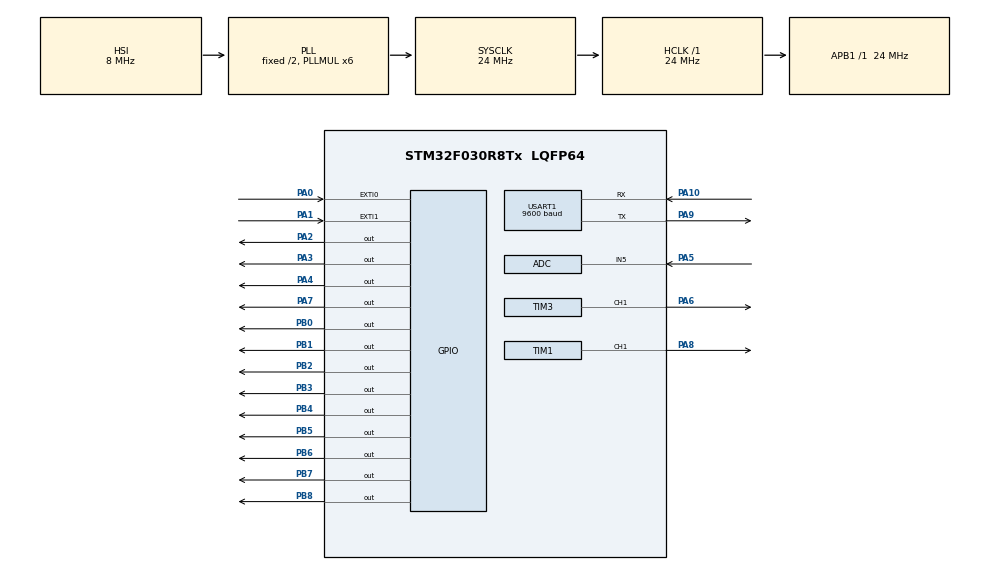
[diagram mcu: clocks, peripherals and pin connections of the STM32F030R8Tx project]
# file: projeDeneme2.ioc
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ADC.Resolution=ADC_RESOLUTION_6B
Mcu.Family=STM32F0
Mcu.Name=STM32F030R8Tx
Mcu.Package=LQFP64
NVIC.ADC1_IRQn=true\:0\:0\:false\:false\:true\:true\:true
NVIC.EXTI0_1_IRQn=true\:0\:0\:false\:false\:true\:true\:true
NVIC.TIM1_BRK_UP_TRG_COM_IRQn=true\:0\:0\:false\:false\:true\:true\:true
NVIC.TIM3_IRQn=true\:0\:0\:false\:false\:true\:true\:true
NVIC.USART1_IRQn=true\:0\:0\:false\:false\:true\:true\:true
PA0.GPIO_ModeDefaultEXTI=GPIO_MODE_IT_RISING
PA0.Signal=GPXTI0
PA1.GPIO_ModeDefaultEXTI=GPIO_MODE_IT_RISING
PA1.Signal=GPXTI1
PA10.Mode=Asynchronous
PA10.Signal=USART1_RX
PA2.Signal=GPIO_Output
PA3.Signal=GPIO_Output
PA4.Signal=GPIO_Output
PA5.Mode=IN5
PA5.Signal=ADC_IN5
PA6.Signal=S_TIM3_CH1
PA7.Signal=GPIO_Output
PA8.Signal=S_TIM1_CH1
PA9.Mode=Asynchronous
PA9.Signal=USART1_TX
PB0.Signal=GPIO_Output
PB1.Signal=GPIO_Output
PB2.Signal=GPIO_Output
PB3.Signal=GPIO_Output
PB4.Signal=GPIO_Output
PB5.Signal=GPIO_Output
PB6.Signal=GPIO_Output
PB7.Signal=GPIO_Output
PB8.Signal=GPIO_Output
ProjectManager.HeapSize=0x200
ProjectManager.StackSize=0x400
ProjectManager.TargetToolchain=MDK-ARM V5
RCC.AHBFreq_Value=24000000
RCC.APB1Freq_Value=24000000
RCC.APB1TimFreq_Value=24000000
RCC.HCLKFreq_Value=24000000
RCC.PLLMUL=RCC_PLL_MUL6
RCC.SYSCLKFreq_VALUE=24000000
RCC.SYSCLKSource=RCC_SYSCLKSOURCE_PLLCLK
SH.S_TIM1_CH1.0=TIM1_CH1,PWM Generation1 CH1
SH.S_TIM3_CH1.0=TIM3_CH1,PWM Generation1 CH1
TIM1.Channel-PWM\ Generation1\ CH1=TIM_CHANNEL_1
TIM1.Period=4999
TIM1.Prescaler=23999
TIM1.Pulse-PWM\ Generation1\ CH1=500
TIM3.Channel-PWM\ Generation1\ CH1=TIM_CHANNEL_1
TIM3.Period=999
TIM3.Prescaler=11999
TIM3.Pulse-PWM\ Generation1\ CH1=500
USART1.BaudRate=9600
USART1.VirtualMode-Asynchronous=VM_ASYNC
board=custom

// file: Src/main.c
/* USER CODE BEGIN Header */
/**
  ******************************************************************************
  * @file           : main.c
  * @brief          : Main program body
  ******************************************************************************
  * @attention
  *
  * <h2><center>&copy; Copyright (c) 2020 STMicroelectronics.
  * All rights reserved.</center></h2>
  *
  * This software component is licensed by ST under BSD 3-Clause license,
  * the "License"; You may not use this file except in compliance with the
  * License. You may obtain a copy of the License at:
  *                        opensource.org/licenses/BSD-3-Clause
  *
  ******************************************************************************
  */
/* USER CODE END Header */

#include "main.h"
#include <stdio.h>

ADC_HandleTypeDef hadc;

TIM_HandleTypeDef htim1;
TIM_HandleTypeDef htim3;

UART_HandleTypeDef huart1;

/* USER CODE BEGIN PV */

int sistemCalisiyor = 0;
int tekSeferCalistir = 0;
int adc;
int grup1 = 0;
int grup2= 0;
int toplam = 0;
int toplamUart = 0;
int toplamSayaci = 0;
int onSaniyeSayaci = 0;
int butonaBasildi = 0;
int urunAsimiUyarisi = 0;

uint8_t limitAsimi[] = "<Limit asimi!>\r\n";
uint8_t urunYok[] = "<Urun yok...>\r\n";

/* USER CODE END PV */

void SystemClock_Config(void);
static void MX_GPIO_Init(void);
static void MX_ADC_Init(void);
static void MX_TIM3_Init(void);
static void MX_TIM1_Init(void);
static void MX_USART1_UART_Init(void);
/* USER CODE BEGIN PFP */

int getSize(char* metin){

		int mesajin_length = 0;
    while(metin[mesajin_length] != '\0'){

        mesajin_length++;

		}

    return mesajin_length;
}

void porta_yaz(int a){

		switch(a){

			case 0:
				GPIOB -> ODR = 0x003F;
				break;
			case 1:
				GPIOB -> ODR = 0x0006;
				break;
			case 2:
				GPIOB -> ODR = 0x005B;
				break;
			case 3:
				GPIOB -> ODR = 0x004F;
				break;
			case 4:
				GPIOB -> ODR = 0x0066;
				break;
			case 5:
				GPIOB -> ODR = 0x006D;
				break;
			case 6:
				GPIOB -> ODR = 0x007D;
				break;
			case 7:
				GPIOB -> ODR = 0x0007;
				break;
			case 8:
				GPIOB -> ODR = 0x007F;
				break;
			case 9:
				GPIOB -> ODR = 0x006F;
				break;

		}

	}

void port_yaz2D(int a){

	if(a <= 9){

		porta_yaz(a);
		HAL_GPIO_WritePin(GPIOB, GPIO_PIN_7, GPIO_PIN_RESET);
		HAL_GPIO_WritePin(GPIOB, GPIO_PIN_8, GPIO_PIN_SET);
		HAL_Delay(10);
		HAL_GPIO_WritePin(GPIOB, GPIO_PIN_8, GPIO_PIN_RESET);

	}else{

		porta_yaz(a % 10);
		HAL_GPIO_WritePin(GPIOB, GPIO_PIN_7, GPIO_PIN_RESET);
		HAL_GPIO_WritePin(GPIOB, GPIO_PIN_8, GPIO_PIN_SET);
		HAL_Delay(10);

		porta_yaz(a / 10);
		HAL_GPIO_WritePin(GPIOB, GPIO_PIN_7, GPIO_PIN_SET);
		HAL_GPIO_WritePin(GPIOB, GPIO_PIN_8, GPIO_PIN_RESET);
		HAL_Delay(10);

		HAL_GPIO_WritePin(GPIOB, GPIO_PIN_7, GPIO_PIN_RESET);

	}

}

/* USER CODE END PFP */

int main(void)
{

  /* MCU Configuration--------------------------------------------------------*/

  /* Reset of all peripherals, Initializes the Flash interface and the Systick. */
  HAL_Init();

  /* Configure the system clock */
  SystemClock_Config();

  /* Initialize all configured peripherals */
  MX_GPIO_Init();
  MX_ADC_Init();
  MX_TIM3_Init();
  MX_TIM1_Init();
  MX_USART1_UART_Init();
  /* USER CODE BEGIN 2 */

	HAL_TIM_Base_Start_IT(&htim3);
	HAL_TIM_Base_Start_IT(&htim1);
	HAL_ADC_Start_IT(&hadc);
	__HAL_UART_ENABLE_IT(&huart1, UART_IT_RXNE);

  /* USER CODE END 2 */

  /* Infinite loop */
  /* USER CODE BEGIN WHILE */
  while (1)
  {

			if(sistemCalisiyor){

				if(toplam > 99){

					if(!toplamSayaci){

						toplam -= 100;
						toplamSayaci = 1;
						HAL_GPIO_WritePin(GPIOA, GPIO_PIN_7, GPIO_PIN_SET);

					}else{

						urunAsimiUyarisi = 1;
						HAL_GPIO_TogglePin(GPIOA, GPIO_PIN_7);

					}

				}

				port_yaz2D(toplam);

			}

    /* USER CODE END WHILE */

  }
}

void SystemClock_Config(void)
{
  RCC_OscInitTypeDef RCC_OscInitStruct = {0};
  RCC_ClkInitTypeDef RCC_ClkInitStruct = {0};
  RCC_PeriphCLKInitTypeDef PeriphClkInit = {0};

  /** Initializes the CPU, AHB and APB busses clocks
  */
  RCC_OscInitStruct.OscillatorType = RCC_OSCILLATORTYPE_HSI|RCC_OSCILLATORTYPE_HSI14;
  RCC_OscInitStruct.HSIState = RCC_HSI_ON;
  RCC_OscInitStruct.HSI14State = RCC_HSI14_ON;
  RCC_OscInitStruct.HSICalibrationValue = RCC_HSICALIBRATION_DEFAULT;
  RCC_OscInitStruct.HSI14CalibrationValue = 16;
  RCC_OscInitStruct.PLL.PLLState = RCC_PLL_ON;
  RCC_OscInitStruct.PLL.PLLSource = RCC_PLLSOURCE_HSI;
  RCC_OscInitStruct.PLL.PLLMUL = RCC_PLL_MUL6;
  RCC_OscInitStruct.PLL.PREDIV = RCC_PREDIV_DIV1;
  if (HAL_RCC_OscConfig(&RCC_OscInitStruct) != HAL_OK)
  {
    Error_Handler();
  }
  /** Initializes the CPU, AHB and APB busses clocks
  */
  RCC_ClkInitStruct.ClockType = RCC_CLOCKTYPE_HCLK|RCC_CLOCKTYPE_SYSCLK
                              |RCC_CLOCKTYPE_PCLK1;
  RCC_ClkInitStruct.SYSCLKSource = RCC_SYSCLKSOURCE_PLLCLK;
  RCC_ClkInitStruct.AHBCLKDivider = RCC_SYSCLK_DIV1;
  RCC_ClkInitStruct.APB1CLKDivider = RCC_HCLK_DIV1;

  if (HAL_RCC_ClockConfig(&RCC_ClkInitStruct, FLASH_LATENCY_0) != HAL_OK)
  {
    Error_Handler();
  }
  PeriphClkInit.PeriphClockSelection = RCC_PERIPHCLK_USART1;
  PeriphClkInit.Usart1ClockSelection = RCC_USART1CLKSOURCE_PCLK1;
  if (HAL_RCCEx_PeriphCLKConfig(&PeriphClkInit) != HAL_OK)
  {
    Error_Handler();
  }
}

static void MX_ADC_Init(void)
{

  ADC_ChannelConfTypeDef sConfig = {0};

  /** Configure the global features of the ADC (Clock, Resolution, Data Alignment and number of conversion)
  */
  hadc.Instance = ADC1;
  hadc.Init.ClockPrescaler = ADC_CLOCK_ASYNC_DIV1;
  hadc.Init.Resolution = ADC_RESOLUTION_6B;
  hadc.Init.DataAlign = ADC_DATAALIGN_RIGHT;
  hadc.Init.ScanConvMode = ADC_SCAN_DIRECTION_FORWARD;
  hadc.Init.EOCSelection = ADC_EOC_SINGLE_CONV;
  hadc.Init.LowPowerAutoWait = DISABLE;
  hadc.Init.LowPowerAutoPowerOff = DISABLE;
  hadc.Init.ContinuousConvMode = DISABLE;
  hadc.Init.DiscontinuousConvMode = DISABLE;
  hadc.Init.ExternalTrigConv = ADC_SOFTWARE_START;
  hadc.Init.ExternalTrigConvEdge = ADC_EXTERNALTRIGCONVEDGE_NONE;
  hadc.Init.DMAContinuousRequests = DISABLE;
  hadc.Init.Overrun = ADC_OVR_DATA_PRESERVED;
  if (HAL_ADC_Init(&hadc) != HAL_OK)
  {
    Error_Handler();
  }
  /** Configure for the selected ADC regular channel to be converted.
  */
  sConfig.Channel = ADC_CHANNEL_5;
  sConfig.Rank = ADC_RANK_CHANNEL_NUMBER;
  sConfig.SamplingTime = ADC_SAMPLETIME_1CYCLE_5;
  if (HAL_ADC_ConfigChannel(&hadc, &sConfig) != HAL_OK)
  {
    Error_Handler();
  }

}

static void MX_TIM1_Init(void)
{

  TIM_MasterConfigTypeDef sMasterConfig = {0};
  TIM_OC_InitTypeDef sConfigOC = {0};
  TIM_BreakDeadTimeConfigTypeDef sBreakDeadTimeConfig = {0};

  htim1.Instance = TIM1;
  htim1.Init.Prescaler = 23999;
  htim1.Init.CounterMode = TIM_COUNTERMODE_UP;
  htim1.Init.Period = 4999;
  htim1.Init.ClockDivision = TIM_CLOCKDIVISION_DIV1;
  htim1.Init.RepetitionCounter = 0;
  htim1.Init.AutoReloadPreload = TIM_AUTORELOAD_PRELOAD_DISABLE;
  if (HAL_TIM_PWM_Init(&htim1) != HAL_OK)
  {
    Error_Handler();
  }
  sMasterConfig.MasterOutputTrigger = TIM_TRGO_RESET;
  sMasterConfig.MasterSlaveMode = TIM_MASTERSLAVEMODE_DISABLE;
  if (HAL_TIMEx_MasterConfigSynchronization(&htim1, &sMasterConfig) != HAL_OK)
  {
    Error_Handler();
  }
  sConfigOC.OCMode = TIM_OCMODE_PWM1;
  sConfigOC.Pulse = 500;
  sConfigOC.OCPolarity = TIM_OCPOLARITY_HIGH;
  sConfigOC.OCNPolarity = TIM_OCNPOLARITY_HIGH;
  sConfigOC.OCFastMode = TIM_OCFAST_DISABLE;
  sConfigOC.OCIdleState = TIM_OCIDLESTATE_RESET;
  sConfigOC.OCNIdleState = TIM_OCNIDLESTATE_RESET;
  if (HAL_TIM_PWM_ConfigChannel(&htim1, &sConfigOC, TIM_CHANNEL_1) != HAL_OK)
  {
    Error_Handler();
  }
  sBreakDeadTimeConfig.OffStateRunMode = TIM_OSSR_DISABLE;
  sBreakDeadTimeConfig.OffStateIDLEMode = TIM_OSSI_DISABLE;
  sBreakDeadTimeConfig.LockLevel = TIM_LOCKLEVEL_OFF;
  sBreakDeadTimeConfig.DeadTime = 0;
  sBreakDeadTimeConfig.BreakState = TIM_BREAK_DISABLE;
  sBreakDeadTimeConfig.BreakPolarity = TIM_BREAKPOLARITY_HIGH;
  sBreakDeadTimeConfig.AutomaticOutput = TIM_AUTOMATICOUTPUT_DISABLE;
  if (HAL_TIMEx_ConfigBreakDeadTime(&htim1, &sBreakDeadTimeConfig) != HAL_OK)
  {
    Error_Handler();
  }
  HAL_TIM_MspPostInit(&htim1);

}

static void MX_TIM3_Init(void)
{

  TIM_MasterConfigTypeDef sMasterConfig = {0};
  TIM_OC_InitTypeDef sConfigOC = {0};

  htim3.Instance = TIM3;
  htim3.Init.Prescaler = 11999;
  htim3.Init.CounterMode = TIM_COUNTERMODE_UP;
  htim3.Init.Period = 999;
  htim3.Init.ClockDivision = TIM_CLOCKDIVISION_DIV1;
  htim3.Init.AutoReloadPreload = TIM_AUTORELOAD_PRELOAD_DISABLE;
  if (HAL_TIM_PWM_Init(&htim3) != HAL_OK)
  {
    Error_Handler();
  }
  sMasterConfig.MasterOutputTrigger = TIM_TRGO_RESET;
  sMasterConfig.MasterSlaveMode = TIM_MASTERSLAVEMODE_DISABLE;
  if (HAL_TIMEx_MasterConfigSynchronization(&htim3, &sMasterConfig) != HAL_OK)
  {
    Error_Handler();
  }
  sConfigOC.OCMode = TIM_OCMODE_PWM1;
  sConfigOC.Pulse = 500;
  sConfigOC.OCPolarity = TIM_OCPOLARITY_HIGH;
  sConfigOC.OCFastMode = TIM_OCFAST_DISABLE;
  if (HAL_TIM_PWM_ConfigChannel(&htim3, &sConfigOC, TIM_CHANNEL_1) != HAL_OK)
  {
    Error_Handler();
  }
  HAL_TIM_MspPostInit(&htim3);

}

static void MX_USART1_UART_Init(void)
{

  huart1.Instance = USART1;
  huart1.Init.BaudRate = 9600;
  huart1.Init.WordLength = UART_WORDLENGTH_8B;
  huart1.Init.StopBits = UART_STOPBITS_1;
  huart1.Init.Parity = UART_PARITY_NONE;
  huart1.Init.Mode = UART_MODE_TX_RX;
  huart1.Init.HwFlowCtl = UART_HWCONTROL_NONE;
  huart1.Init.OverSampling = UART_OVERSAMPLING_16;
  huart1.Init.OneBitSampling = UART_ONE_BIT_SAMPLE_DISABLE;
  huart1.AdvancedInit.AdvFeatureInit = UART_ADVFEATURE_NO_INIT;
  if (HAL_UART_Init(&huart1) != HAL_OK)
  {
    Error_Handler();
  }

}

static void MX_GPIO_Init(void)
{
  GPIO_InitTypeDef GPIO_InitStruct = {0};

  /* GPIO Ports Clock Enable */
  __HAL_RCC_GPIOA_CLK_ENABLE();
  __HAL_RCC_GPIOB_CLK_ENABLE();

  /*Configure GPIO pin Output Level */
  HAL_GPIO_WritePin(GPIOA, GPIO_PIN_2|GPIO_PIN_3|GPIO_PIN_4|GPIO_PIN_7, GPIO_PIN_RESET);

  /*Configure GPIO pin Output Level */
  HAL_GPIO_WritePin(GPIOB, GPIO_PIN_0|GPIO_PIN_1|GPIO_PIN_2|GPIO_PIN_3
                          |GPIO_PIN_4|GPIO_PIN_5|GPIO_PIN_6|GPIO_PIN_7
                          |GPIO_PIN_8, GPIO_PIN_RESET);

  /*Configure GPIO pins : PA0 PA1 */
  GPIO_InitStruct.Pin = GPIO_PIN_0|GPIO_PIN_1;
  GPIO_InitStruct.Mode = GPIO_MODE_IT_RISING;
  GPIO_InitStruct.Pull = GPIO_NOPULL;
  HAL_GPIO_Init(GPIOA, &GPIO_InitStruct);

  /*Configure GPIO pins : PA2 PA3 PA4 PA7 */
  GPIO_InitStruct.Pin = GPIO_PIN_2|GPIO_PIN_3|GPIO_PIN_4|GPIO_PIN_7;
  GPIO_InitStruct.Mode = GPIO_MODE_OUTPUT_PP;
  GPIO_InitStruct.Pull = GPIO_NOPULL;
  GPIO_InitStruct.Speed = GPIO_SPEED_FREQ_LOW;
  HAL_GPIO_Init(GPIOA, &GPIO_InitStruct);

  /*Configure GPIO pins : PB0 PB1 PB2 PB3
                           PB4 PB5 PB6 PB7
                           PB8 */
  GPIO_InitStruct.Pin = GPIO_PIN_0|GPIO_PIN_1|GPIO_PIN_2|GPIO_PIN_3
                          |GPIO_PIN_4|GPIO_PIN_5|GPIO_PIN_6|GPIO_PIN_7
                          |GPIO_PIN_8;
  GPIO_InitStruct.Mode = GPIO_MODE_OUTPUT_PP;
  GPIO_InitStruct.Pull = GPIO_NOPULL;
  GPIO_InitStruct.Speed = GPIO_SPEED_FREQ_LOW;
  HAL_GPIO_Init(GPIOB, &GPIO_InitStruct);

  /* EXTI interrupt init*/
  HAL_NVIC_SetPriority(EXTI0_1_IRQn, 0, 0);
  HAL_NVIC_EnableIRQ(EXTI0_1_IRQn);

}

void Error_Handler(void)
{
}

/************************ (C) COPYRIGHT STMicroelectronics *****END OF FILE****/
